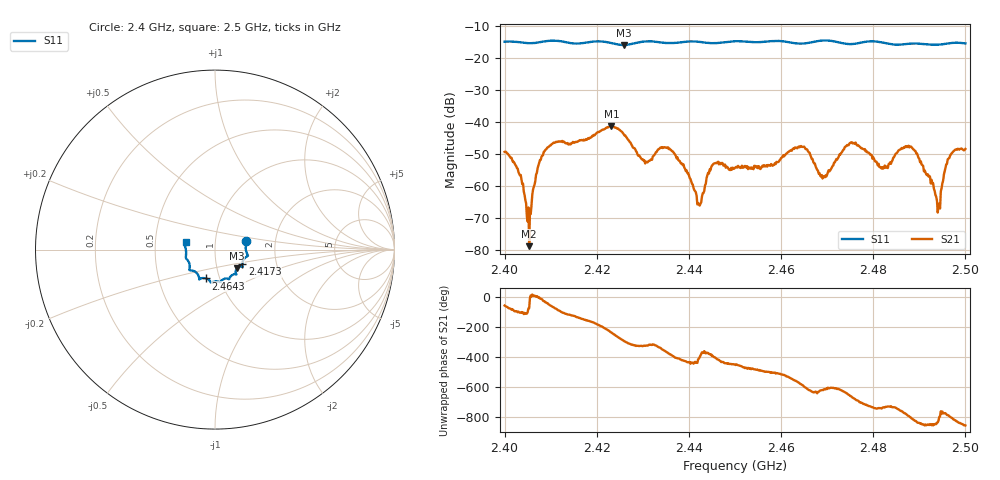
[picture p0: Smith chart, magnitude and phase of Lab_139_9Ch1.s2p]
# Hz S RI R 50
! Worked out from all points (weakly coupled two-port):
!   601 points, 2.4 GHz to 2.5 GHz, reference 50 ohm
!   highest |S21| = -41.30 dB at 2.4232 GHz (marker M1); lowest = -78.8 dB at 2.4053 GHz (marker M2)
!   lowest |S11| = -15.9 dB at 2.4258 GHz (marker M3), VSWR 1.38, Z = 62.3 - j13.2 ohm
!   |S11| at or under -10 dB: start of sweep to end of sweep
!   S12 and S22 are empty: the file has one direction only
!   S11 on the Smith chart (normalised r, x): 2.4 GHz: 1.41, +0.14; 2.4173 GHz: 1.34, -0.23; 2.4643 GHz: 0.86, -0.28; 2.5 GHz: 0.72, +0.06
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2.4e9  0.1734 0.0495  0.00181 -0.0029  0 0  0 0
2.403167e9  0.174 0.0334  -0.000339 -0.00151  0 0  0 0
2.405333e9  0.1705 0.00929  2.95e-05 -0.000111  0 0  0 0
2.409e9  0.1816 -0.0282  0.003 -0.00223  0 0  0 0
2.416667e9  0.1531 -0.0746  -0.00436 -0.0029  0 0  0 0
2.417333e9  0.1522 -0.082  -0.00459 -0.00235  0 0  0 0
2.423167e9  0.1439 -0.0934  -0.00464 0.00726  0 0  0 0
2.425833e9  0.122 -0.1034  0.00254 0.00598  0 0  0 0
2.4305e9  0.1186 -0.1376  0.00189 0.00123  0 0  0 0
2.433333e9  0.1128 -0.1371  0.00338 0.00161  0 0  0 0
2.442167e9  0.0739 -0.1636  0.000316 -0.000408  0 0  0 0
2.445333e9  0.0531 -0.1622  0.00171 -0.00142  0 0  0 0
2.45e9  0.0295 -0.1808  -5.26e-05 -0.00193  0 0  0 0
2.464333e9  -0.0498 -0.1605  -0.00309 0.00287  0 0  0 0
2.466667e9  -0.0758 -0.1596  0.000128 0.00265  0 0  0 0
2.4695e9  -0.0878 -0.1665  -0.000335 0.00133  0 0  0 0
2.475667e9  -0.1127 -0.1219  0.00333 0.0033  0 0  0 0
2.483333e9  -0.1407 -0.0899  0.00215 -0.000438  0 0  0 0
2.4885e9  -0.1613 -0.0483  -0.000237 -0.0039  0 0  0 0
2.494e9  -0.1617 -0.00167  -0.00018 -0.000341  0 0  0 0
2.496667e9  -0.1691 0.024  0.00052 -0.00292  0 0  0 0
2.5e9  -0.1638 0.0422  -0.00283 -0.00252  0 0  0 0
